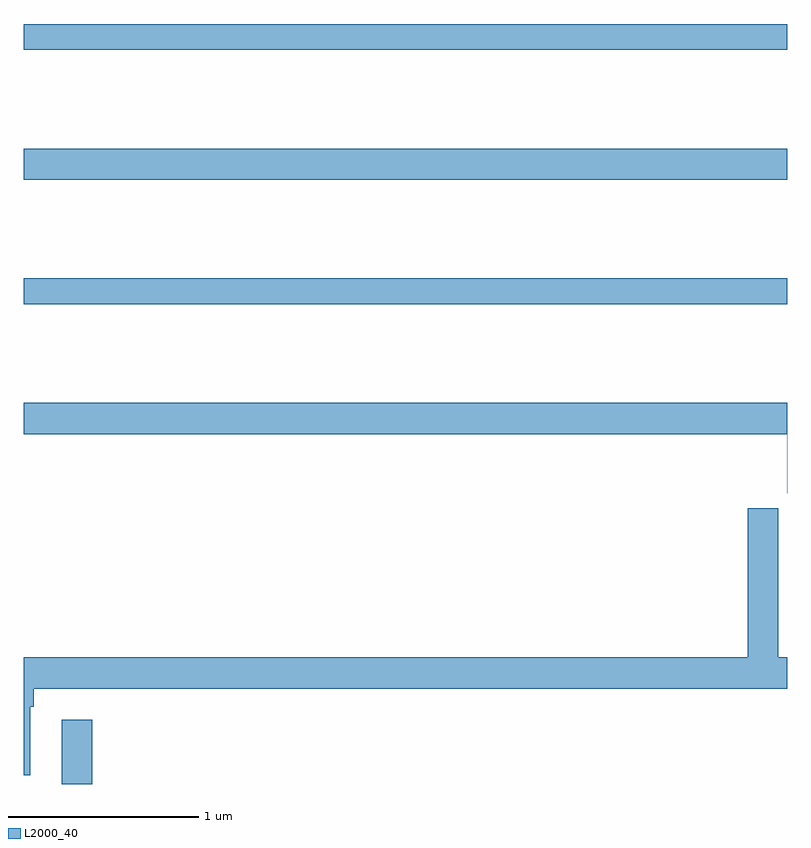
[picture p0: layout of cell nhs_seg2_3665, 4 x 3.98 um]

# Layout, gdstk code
import gdstk
lib = gdstk.Library(unit=1e-6, precision=1e-09)
def R(c, l, rs):  # rectangles x0, y0, x1, y1
    for r in rs: c.add(gdstk.rectangle(r[:2], r[2:], *l))
def P(c, l, *ps):  # polygons
    for p in ps: c.add(gdstk.Polygon(p, *l))
L2000_40 = (2000, 40)

nhs_seg2_3665 = lib.new_cell('nhs_seg2_3665')
R(nhs_seg2_3665, L2000_40, [(303.2,649.8,303.359,650.137), (303,652.312,307,652.448), (303,652.964,307,653.128), (303,653.644,307,653.78)])
P(nhs_seg2_3665, L2000_40, [(307,651.796),(303,651.796),(303,651.632),(306.998,651.632),(306.998,651.323),(307,651.323)],
  [(303.034,650.204),(303.053,650.204),(303.053,650.3),(307,650.3),(307,650.464),(306.951,650.464),(306.951,651.244),(306.791,651.244),(306.791,650.464),(303,650.464),(303,649.845),(303.034,649.845)])

lib.write_gds('nhs_seg2_3665.gds')
